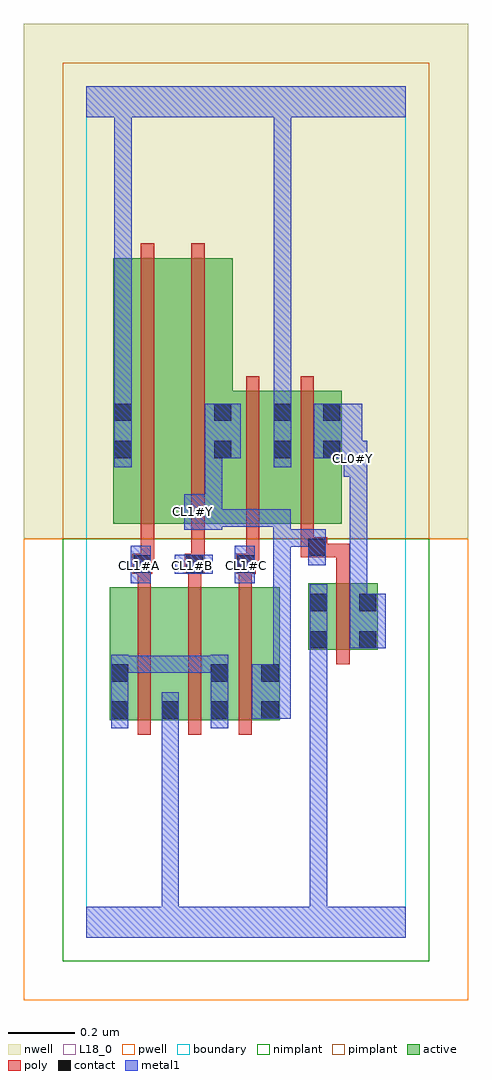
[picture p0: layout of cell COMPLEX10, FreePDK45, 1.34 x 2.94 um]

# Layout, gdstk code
import gdstk
lib = gdstk.Library(unit=1e-6, precision=1e-09)
def R(c, l, rs):  # rectangles x0, y0, x1, y1
    for r in rs: c.add(gdstk.rectangle(r[:2], r[2:], *l))
def A(c, l, x, y, w, h, nx, ny, dx, dy):  # array of equal rectangles
    R(c, l, [(x+i*dx, y+j*dy, x+i*dx+w, y+j*dy+h) for i in range(nx) for j in range(ny)])
active = (1, 0)
pwell = (2, 0)
nwell = (3, 0)
nimplant = (4, 0)
pimplant = (5, 0)
poly = (9, 0)
contact = (10, 0)
metal1 = (11, 0)
L18_0 = (18, 0)
boundary = (235, 0)

complex10 = lib.new_cell('COMPLEX10')
R(complex10, active, [(0.07,0.654,0.13,1.054), (0.07,0.654,0.282,1.054), (0.222,0.654,0.282,0.828), (0.222,0.654,0.43,1.054), (0.37,0.654,0.582,1.054), (0.37,0.654,0.43,0.828), (0.522,0.654,0.582,1.054), (0.668,0.866,0.728,1.066), (0.668,0.866,0.876,1.066), (0.816,0.866,0.876,1.066), (0.08,1.244,0.26,2.044), (0.08,1.244,0.14,2.044), (0.26,1.244,0.44,2.044), (0.38,1.244,0.44,1.644), (0.38,1.244,0.62,1.644), (0.56,1.244,0.62,1.644), (0.56,1.244,0.768,1.644), (0.708,1.244,0.768,1.644)])
R(complex10, pwell, [(-0.188,-0.188,1.148,1.2)])
R(complex10, nwell, [(-0.188,1.2,1.148,2.748)])
R(complex10, nimplant, [(-0.072,-0.072,1.032,1.2)])
R(complex10, pimplant, [(-0.072,1.2,1.032,2.632)])
A(complex10, poly, 0.154, 0.61, 0.04, 0.488, 3, 1, 0.152, 0)
A(complex10, poly, 0.154, 1.058, 0.04, 0.076, 3, 1, 0.152, 0)
R(complex10, poly, [(0.752,0.822,0.792,1.11), (0.752,1.07,0.792,1.184), (0.138,1.094,0.198,1.154), (0.296,1.094,0.356,1.154), (0.45,1.094,0.51,1.154), (0.158,1.114,0.198,1.154), (0.158,1.114,0.204,1.154), (0.164,1.114,0.204,1.24), (0.316,1.114,0.356,1.154), (0.316,1.114,0.356,1.154), (0.316,1.114,0.356,1.24), (0.47,1.114,0.51,1.154), (0.47,1.114,0.52,1.154), (0.48,1.114,0.52,1.24), (0.644,1.144,0.724,1.204), (0.684,1.144,0.724,1.184), (0.684,1.144,0.792,1.184), (0.644,1.164,0.684,1.24), (0.164,1.2,0.204,2.088), (0.316,1.2,0.356,2.088), (0.48,1.2,0.52,1.688), (0.644,1.2,0.684,1.688)])
R(complex10, contact, [(0.074,0.658,0.126,0.71), (0.226,0.658,0.278,0.71), (0.374,0.658,0.426,0.71), (0.526,0.658,0.578,0.71), (0.074,0.77,0.126,0.822), (0.374,0.77,0.426,0.822), (0.526,0.77,0.578,0.822), (0.672,0.87,0.724,0.922), (0.82,0.87,0.872,0.922), (0.672,0.982,0.724,1.034), (0.82,0.982,0.872,1.034), (0.142,1.098,0.194,1.15), (0.3,1.098,0.352,1.15), (0.454,1.098,0.506,1.15), (0.668,1.148,0.72,1.2), (0.084,1.442,0.136,1.494), (0.384,1.442,0.436,1.494), (0.564,1.442,0.616,1.494), (0.712,1.442,0.764,1.494), (0.084,1.554,0.136,1.606), (0.384,1.554,0.436,1.606), (0.564,1.554,0.616,1.606), (0.712,1.554,0.764,1.606)])
R(complex10, metal1, [(0,0,0.96,0.092), (0.226,0.04,0.278,0.092), (0.226,0.04,0.278,0.092), (0.226,0.04,0.278,0.092), (0.226,0.04,0.278,0.092), (0.226,0.04,0.278,0.092), (0.226,0.04,0.278,0.092), (0.226,0.04,0.278,0.092), (0.226,0.04,0.278,0.092), (0.226,0.04,0.278,0.092), (0.226,0.04,0.278,0.092), (0.226,0.04,0.278,0.682), (0.672,0.04,0.724,0.092), (0.672,0.04,0.724,0.092), (0.672,0.04,0.724,0.092), (0.672,0.04,0.724,0.092), (0.672,0.04,0.724,0.092), (0.672,0.04,0.724,0.092), (0.672,0.04,0.724,0.092), (0.672,0.04,0.724,0.092), (0.672,0.04,0.724,0.092), (0.672,0.04,0.724,0.092), (0.672,0.04,0.724,0.092), (0.672,0.04,0.724,0.092), (0.672,0.04,0.724,0.092), (0.672,0.04,0.724,0.092), (0.672,0.04,0.724,0.894), (0.074,0.63,0.126,0.85), (0.226,0.63,0.278,0.682), (0.226,0.63,0.278,0.682), (0.226,0.63,0.278,0.738), (0.374,0.63,0.426,0.85), (0.498,0.658,0.614,0.822), (0.562,0.77,0.614,0.822), (0.562,0.77,0.614,0.822), (0.562,0.77,0.614,1.228), (0.074,0.796,0.126,0.848), (0.074,0.796,0.126,0.848), (0.074,0.796,0.236,0.848), (0.184,0.796,0.236,0.848), (0.184,0.796,0.236,0.848), (0.184,0.796,0.236,0.848), (0.184,0.796,0.426,0.848), (0.672,0.842,0.724,0.894), (0.672,0.842,0.724,0.894), (0.672,0.842,0.724,1.062), (0.792,0.87,0.9,1.034), (0.792,0.982,0.844,1.438), (0.134,1.066,0.194,1.178), (0.446,1.066,0.506,1.178), (0.266,1.094,0.38,1.152), (0.668,1.12,0.72,1.228), (0.562,1.176,0.616,1.228), (0.562,1.176,0.614,1.288), (0.564,1.176,0.616,1.228), (0.564,1.176,0.72,1.228), (0.294,1.226,0.408,1.334), (0.356,1.236,0.408,1.288), (0.356,1.236,0.408,1.288), (0.356,1.236,0.614,1.288), (0.356,1.282,0.408,1.494), (0.774,1.386,0.844,1.494), (0.084,1.414,0.136,1.634), (0.564,1.414,0.616,1.634), (0.356,1.442,0.464,1.606), (0.684,1.442,0.83,1.606), (0.778,1.442,0.83,1.494), (0.778,1.442,0.83,1.494), (0.778,1.442,0.83,1.494), (0.084,1.582,0.136,1.634), (0.084,1.582,0.136,1.634), (0.084,1.582,0.136,2.52), (0.564,1.582,0.616,1.634), (0.564,1.582,0.616,1.634), (0.564,1.582,0.616,1.634), (0.564,1.582,0.616,1.634), (0.564,1.582,0.616,1.634), (0.564,1.582,0.616,1.634), (0.564,1.582,0.616,1.634), (0.564,1.582,0.616,1.634), (0.564,1.582,0.616,1.634), (0.564,1.582,0.616,1.634), (0.564,1.582,0.616,1.634), (0.564,1.582,0.616,1.634), (0.564,1.582,0.616,1.634), (0.564,1.582,0.616,1.634), (0.564,1.582,0.616,1.634), (0.564,1.582,0.616,1.634), (0.564,1.582,0.616,2.52), (0,2.468,0.96,2.56), (0.084,2.468,0.136,2.52), (0.084,2.468,0.136,2.52), (0.084,2.468,0.136,2.52), (0.084,2.468,0.136,2.52), (0.084,2.468,0.136,2.52), (0.084,2.468,0.136,2.52)])
A(complex10, L18_0, 0.134, 1.094, 0.052, 0.052, 3, 1, 0.16, 0)
R(complex10, L18_0, [(0,0,0.96,0.092), (0.226,0.04,0.278,0.092), (0.226,0.04,0.278,0.092), (0.226,0.04,0.278,0.092), (0.226,0.04,0.278,0.092), (0.226,0.04,0.278,0.092), (0.226,0.04,0.278,0.092), (0.226,0.04,0.278,0.092), (0.226,0.04,0.278,0.092), (0.226,0.04,0.278,0.092), (0.226,0.04,0.278,0.092), (0.226,0.04,0.278,0.682), (0.672,0.04,0.724,0.092), (0.672,0.04,0.724,0.092), (0.672,0.04,0.724,0.092), (0.672,0.04,0.724,0.092), (0.672,0.04,0.724,0.092), (0.672,0.04,0.724,0.092), (0.672,0.04,0.724,0.092), (0.672,0.04,0.724,0.092), (0.672,0.04,0.724,0.092), (0.672,0.04,0.724,0.092), (0.672,0.04,0.724,0.092), (0.672,0.04,0.724,0.092), (0.672,0.04,0.724,0.092), (0.672,0.04,0.724,0.092), (0.672,0.04,0.724,0.894), (0.226,0.63,0.278,0.682), (0.226,0.63,0.278,0.682), (0.226,0.63,0.278,0.738), (0.498,0.658,0.614,0.822), (0.562,0.77,0.614,0.822), (0.562,0.77,0.614,0.822), (0.562,0.77,0.614,1.228), (0.672,0.842,0.724,1.062), (0.672,0.842,0.724,0.894), (0.672,0.842,0.724,0.894), (0.792,0.87,0.9,1.034), (0.792,0.982,0.844,1.438), (0.134,1.066,0.194,1.178), (0.446,1.066,0.506,1.178), (0.266,1.094,0.38,1.152), (0.668,1.12,0.72,1.228), (0.562,1.176,0.614,1.288), (0.562,1.176,0.616,1.228), (0.564,1.176,0.616,1.228), (0.564,1.176,0.72,1.228), (0.294,1.226,0.408,1.334), (0.356,1.236,0.408,1.288), (0.356,1.236,0.408,1.288), (0.356,1.236,0.614,1.288), (0.294,1.254,0.346,1.306), (0.356,1.282,0.408,1.494), (0.774,1.386,0.844,1.494), (0.084,1.414,0.136,1.634), (0.564,1.414,0.616,1.634), (0.774,1.414,0.826,1.466), (0.356,1.442,0.464,1.606), (0.684,1.442,0.83,1.606), (0.778,1.442,0.83,1.494), (0.778,1.442,0.83,1.494), (0.778,1.442,0.83,1.494), (0.084,1.582,0.136,1.634), (0.084,1.582,0.136,1.634), (0.084,1.582,0.136,2.52), (0.564,1.582,0.616,1.634), (0.564,1.582,0.616,1.634), (0.564,1.582,0.616,1.634), (0.564,1.582,0.616,1.634), (0.564,1.582,0.616,1.634), (0.564,1.582,0.616,1.634), (0.564,1.582,0.616,1.634), (0.564,1.582,0.616,1.634), (0.564,1.582,0.616,1.634), (0.564,1.582,0.616,1.634), (0.564,1.582,0.616,1.634), (0.564,1.582,0.616,1.634), (0.564,1.582,0.616,1.634), (0.564,1.582,0.616,1.634), (0.564,1.582,0.616,1.634), (0.564,1.582,0.616,1.634), (0.564,1.582,0.616,2.52), (0,2.468,0.96,2.56), (0.084,2.468,0.136,2.52), (0.084,2.468,0.136,2.52), (0.084,2.468,0.136,2.52), (0.084,2.468,0.136,2.52), (0.084,2.468,0.136,2.52), (0.084,2.468,0.136,2.52)])
R(complex10, boundary, [(0,0,0.96,2.56)])
complex10.add(gdstk.Label('CL0#Y', (0.8,1.44), layer=11, texttype=0))
complex10.add(gdstk.Label('CL1#A', (0.16,1.12), layer=11, texttype=0))
complex10.add(gdstk.Label('CL1#B', (0.32,1.12), layer=11, texttype=0))
complex10.add(gdstk.Label('CL1#C', (0.48,1.12), layer=11, texttype=0))
complex10.add(gdstk.Label('CL1#Y', (0.32,1.28), layer=11, texttype=0))

lib.write_gds('COMPLEX10.gds')
